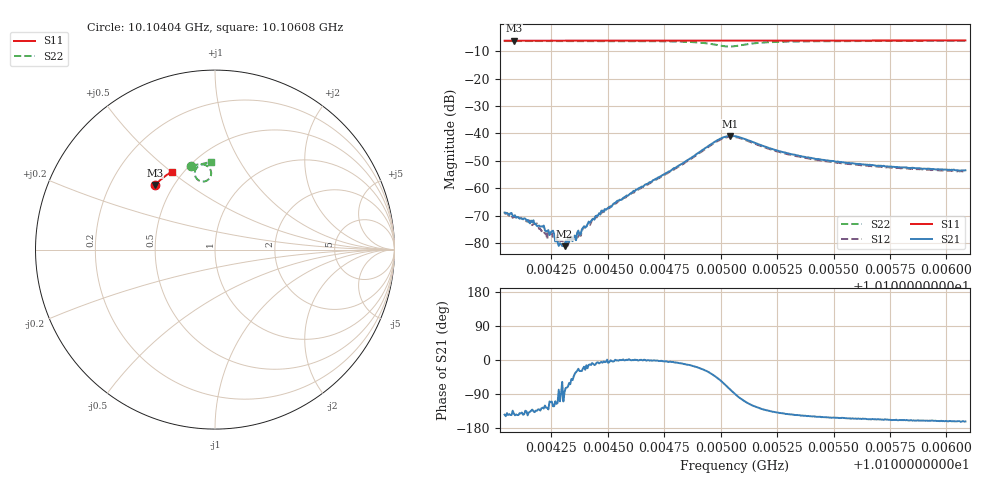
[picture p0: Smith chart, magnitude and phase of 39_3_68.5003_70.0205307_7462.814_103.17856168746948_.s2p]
#  HZ  S  RI  R  50.00
! Rohde & Schwarz Vector Network Analyzer
! Rohde-Schwarz,ZNB20-2Port,1311601062101988,3.16
! Created: UTC 3/20/2024, 4:50:16 PM
! freq[Hz]  re:S11  im:S11  re:S21  im:S21  re:S12  im:S12  re:S22  im:S22
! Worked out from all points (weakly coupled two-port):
!   401 points, 10.10404 GHz to 10.10608 GHz, reference 50 ohm
!   highest |S21| = -40.96 dB at 10.10504 GHz (marker M1); lowest = -81.2 dB at 10.10431 GHz (marker M2)
!   lowest |S11| = -6.2 dB at 10.10408 GHz (marker M3), VSWR 2.93, Z = 19.8 + j18.8 ohm
!   |S11| at or under -10 dB: nowhere
!   |S22| runs from -8.3 to -6.2 dB; largest |S21 - S12| = 0.00091
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1.0104042e10  -0.3367 0.358  -0.00029 -0.000209  -0.000243 -0.000225  -0.1317 0.4656
1.0104083e10  -0.3349 0.3597  -0.000237 -0.000189  -0.000215 -0.000217  -0.1289 0.4664
1.010418e10  -0.3306 0.3639  -0.000154 -0.000162  -0.000141 -0.000169  -0.1217 0.4684
1.0104206e10  -0.3296 0.3651  -0.000121 -0.00016  -8.34e-05 -0.000141  -0.1198 0.4689
1.0104221e10  -0.3288 0.3657  -8.64e-05 -0.000148  -7.82e-05 -0.000126  -0.1188 0.4692
1.0104252e10  -0.3276 0.367  -5.5e-05 -0.000154  -5.25e-05 -0.00014  -0.1164 0.4699
1.0104277e10  -0.3265 0.3682  -4.08e-05 -9.42e-05  -4.95e-06 -0.000141  -0.1143 0.4703
1.0104308e10  -0.3251 0.3693  7.71e-06 -8.68e-05  3.64e-05 -9.36e-05  -0.1119 0.4709
1.0104318e10  -0.3247 0.3699  3.02e-05 -9.76e-05  1.86e-05 -8.79e-05  -0.111 0.4712
1.0104349e10  -0.3233 0.3712  9.72e-05 -9.11e-05  9.24e-05 -6.99e-05  -0.1087 0.4717
1.0104374e10  -0.3221 0.3723  0.000123 -6.79e-05  0.000148 -6.48e-05  -0.1065 0.4722
1.0104384e10  -0.3217 0.3727  0.000153 -8.43e-05  0.00014 -7.35e-05  -0.1057 0.4724
1.0104481e10  -0.3174 0.3766  0.000372 -2.48e-05  0.000365 -2.43e-06  -0.0969 0.4738
1.0104599e10  -0.3121 0.3815  0.000791 2.04e-06  0.000775 7.07e-05  -0.0849 0.4752
1.0104726e10  -0.3062 0.3867  0.00158 -7.43e-05  0.00151 4.7e-05  -0.0682 0.4746
1.0104982e10  -0.294 0.3962  0.00511 -0.00526  0.00535 -0.0046  -0.0233 0.4113
1.0105043e10  -0.2911 0.3983  0.00175 -0.00878  0.00248 -0.00828  -0.0648 0.3791
1.0105063e10  -0.2905 0.3989  4.36e-05 -0.00887  0.000806 -0.0085  -0.0837 0.3821
1.0105267e10  -0.2809 0.4068  -0.00356 -0.00299  -0.00315 -0.00315  -0.0991 0.459
1.0105405e10  -0.2743 0.4119  -0.00303 -0.00183  -0.00274 -0.00201  -0.0816 0.472
1.0105747e10  -0.2571 0.424  -0.00229 -0.000936  -0.00212 -0.0011  -0.0499 0.4828
1.0106084e10  -0.2398 0.4348  -0.00201 -0.000643  -0.00186 -0.000768  -0.0245 0.4868
